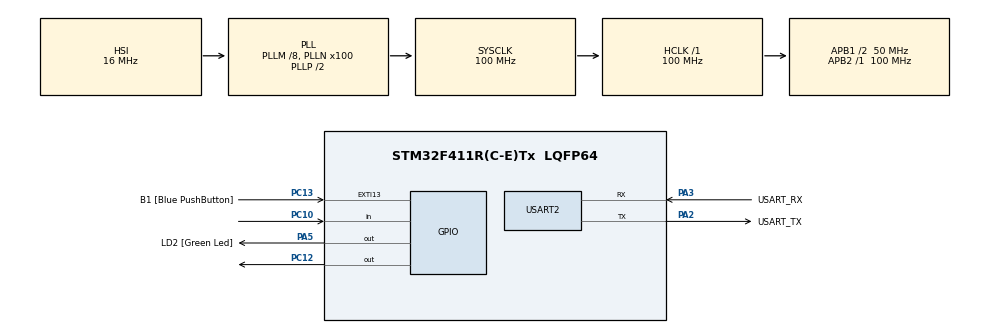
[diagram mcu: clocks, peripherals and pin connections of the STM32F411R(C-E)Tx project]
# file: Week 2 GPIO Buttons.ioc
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Mcu.Family=STM32F4
Mcu.Name=STM32F411R(C-E)Tx
Mcu.Package=LQFP64
NVIC.PriorityGroup=NVIC_PRIORITYGROUP_0
PA13.GPIO_Label=TMS
PA13.Mode=Serial_Wire
PA13.Signal=SYS_JTMS-SWDIO
PA14.GPIO_Label=TCK
PA14.Mode=Serial_Wire
PA14.Signal=SYS_JTCK-SWCLK
PA2.GPIO_Label=USART_TX
PA2.Mode=Asynchronous
PA2.Signal=USART2_TX
PA3.GPIO_Label=USART_RX
PA3.Mode=Asynchronous
PA3.Signal=USART2_RX
PA5.GPIO_Label=LD2 [Green Led]
PA5.Signal=GPIO_Output
PB3.GPIO_Label=SWO
PB3.Signal=SYS_JTDO-SWO
PC10.Signal=GPIO_Input
PC12.Signal=GPIO_Output
PC13-ANTI_TAMP.GPIO_Label=B1 [Blue PushButton]
PC13-ANTI_TAMP.GPIO_ModeDefaultEXTI=GPIO_MODE_IT_FALLING
PC13-ANTI_TAMP.Signal=GPXTI13
PC14-OSC32_IN.Mode=LSE-External-Oscillator
PC14-OSC32_IN.Signal=RCC_OSC32_IN
PC15-OSC32_OUT.Mode=LSE-External-Oscillator
PC15-OSC32_OUT.Signal=RCC_OSC32_OUT
PH0\ -\ OSC_IN.Mode=HSE-External-Clock-Source
PH0\ -\ OSC_IN.Signal=RCC_OSC_IN
PH1\ -\ OSC_OUT.Mode=HSE-External-Clock-Source
PH1\ -\ OSC_OUT.Signal=RCC_OSC_OUT
ProjectManager.HeapSize=0x200
ProjectManager.StackSize=0x400
ProjectManager.TargetToolchain=STM32CubeIDE
RCC.48MHZClocksFreq_Value=50000000
RCC.AHBFreq_Value=100000000
RCC.APB1CLKDivider=RCC_HCLK_DIV2
RCC.APB1Freq_Value=50000000
RCC.APB1TimFreq_Value=100000000
RCC.APB2Freq_Value=100000000
RCC.APB2TimFreq_Value=100000000
RCC.CortexFreq_Value=100000000
RCC.FLatency-AdvancedSettings=FLASH_LATENCY_3
RCC.HCLKFreq_Value=100000000
RCC.HSE_VALUE=8000000
RCC.HSI_VALUE=16000000
RCC.PLLM=8
RCC.PLLN=100
RCC.SYSCLKFreq_VALUE=100000000
RCC.SYSCLKSource=RCC_SYSCLKSOURCE_PLLCLK
RCC.VCOOutputFreq_Value=200000000
USART2.VirtualMode=VM_ASYNC
board=NUCLEO-F411RE

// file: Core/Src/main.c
/* USER CODE BEGIN Header */
/**
  ******************************************************************************
  * @file           : main.c
  * @brief          : Main program body
  ******************************************************************************
  * @attention
  *
  * Copyright (c) 2023 STMicroelectronics.
  * All rights reserved.
  *
  * This software is licensed under terms that can be found in the LICENSE file
  * in the root directory of this software component.
  * If no LICENSE file comes with this software, it is provided AS-IS.
  *
  ******************************************************************************
  */
/* USER CODE END Header */
#include "main.h"

UART_HandleTypeDef huart2;

/* USER CODE BEGIN PV */
struct _GPIOState{
	GPIO_PinState Current;
	GPIO_PinState Last;
};

struct _GPIOState Button1;

/* USER CODE END PV */

void SystemClock_Config(void);
static void MX_GPIO_Init(void);
static void MX_USART2_UART_Init(void);

int main(void)
{

  /* MCU Configuration--------------------------------------------------------*/

  /* Reset of all peripherals, Initializes the Flash interface and the Systick. */
  HAL_Init();

  /* Configure the system clock */
  SystemClock_Config();

  /* Initialize all configured peripherals */
  MX_GPIO_Init();
  MX_USART2_UART_Init();

  /* Infinite loop */
  /* USER CODE BEGIN WHILE */
  while (1)
  {
	  static uint8_t state = 0;

	  Button1.Current = HAL_GPIO_ReadPin(GPIOC, GPIO_PIN_10);
	  if(Button1.Current == 0 && Button1.Last == 1){
		  state = !state;
	  }
	  Button1.Last = Button1.Current;

	  static uint32_t timestamp = 0;
	  if(HAL_GetTick() >= timestamp){
		  timestamp = HAL_GetTick() + 250 + 250 * state;
		  HAL_GPIO_TogglePin(GPIOC, GPIO_PIN_12);
	  }
    /* USER CODE END WHILE */

    /* USER CODE BEGIN 3 */
	  uint8_t Test[] = "Hello World !!!\r\n"; //Data to send
	  HAL_UART_Transmit(&huart2,Test,sizeof(Test),10);// Sending in normal mode
  }
  /* USER CODE END 3 */
}

void SystemClock_Config(void)
{
  RCC_OscInitTypeDef RCC_OscInitStruct = {0};
  RCC_ClkInitTypeDef RCC_ClkInitStruct = {0};

  /** Configure the main internal regulator output voltage
  */
  __HAL_RCC_PWR_CLK_ENABLE();
  __HAL_PWR_VOLTAGESCALING_CONFIG(PWR_REGULATOR_VOLTAGE_SCALE1);

  /** Initializes the RCC Oscillators according to the specified parameters
  * in the RCC_OscInitTypeDef structure.
  */
  RCC_OscInitStruct.OscillatorType = RCC_OSCILLATORTYPE_HSI;
  RCC_OscInitStruct.HSIState = RCC_HSI_ON;
  RCC_OscInitStruct.HSICalibrationValue = RCC_HSICALIBRATION_DEFAULT;
  RCC_OscInitStruct.PLL.PLLState = RCC_PLL_ON;
  RCC_OscInitStruct.PLL.PLLSource = RCC_PLLSOURCE_HSI;
  RCC_OscInitStruct.PLL.PLLM = 8;
  RCC_OscInitStruct.PLL.PLLN = 100;
  RCC_OscInitStruct.PLL.PLLP = RCC_PLLP_DIV2;
  RCC_OscInitStruct.PLL.PLLQ = 4;
  if (HAL_RCC_OscConfig(&RCC_OscInitStruct) != HAL_OK)
  {
    Error_Handler();
  }

  /** Initializes the CPU, AHB and APB buses clocks
  */
  RCC_ClkInitStruct.ClockType = RCC_CLOCKTYPE_HCLK|RCC_CLOCKTYPE_SYSCLK
                              |RCC_CLOCKTYPE_PCLK1|RCC_CLOCKTYPE_PCLK2;
  RCC_ClkInitStruct.SYSCLKSource = RCC_SYSCLKSOURCE_PLLCLK;
  RCC_ClkInitStruct.AHBCLKDivider = RCC_SYSCLK_DIV1;
  RCC_ClkInitStruct.APB1CLKDivider = RCC_HCLK_DIV2;
  RCC_ClkInitStruct.APB2CLKDivider = RCC_HCLK_DIV1;

  if (HAL_RCC_ClockConfig(&RCC_ClkInitStruct, FLASH_LATENCY_3) != HAL_OK)
  {
    Error_Handler();
  }
}

static void MX_USART2_UART_Init(void)
{

  huart2.Instance = USART2;
  huart2.Init.BaudRate = 115200;
  huart2.Init.WordLength = UART_WORDLENGTH_8B;
  huart2.Init.StopBits = UART_STOPBITS_1;
  huart2.Init.Parity = UART_PARITY_NONE;
  huart2.Init.Mode = UART_MODE_TX_RX;
  huart2.Init.HwFlowCtl = UART_HWCONTROL_NONE;
  huart2.Init.OverSampling = UART_OVERSAMPLING_16;
  if (HAL_UART_Init(&huart2) != HAL_OK)
  {
    Error_Handler();
  }

}

static void MX_GPIO_Init(void)
{
  GPIO_InitTypeDef GPIO_InitStruct = {0};

  /* GPIO Ports Clock Enable */
  __HAL_RCC_GPIOC_CLK_ENABLE();
  __HAL_RCC_GPIOH_CLK_ENABLE();
  __HAL_RCC_GPIOA_CLK_ENABLE();
  __HAL_RCC_GPIOB_CLK_ENABLE();

  /*Configure GPIO pin Output Level */
  HAL_GPIO_WritePin(LD2_GPIO_Port, LD2_Pin, GPIO_PIN_RESET);

  /*Configure GPIO pin Output Level */
  HAL_GPIO_WritePin(GPIOC, GPIO_PIN_12, GPIO_PIN_RESET);

  /*Configure GPIO pin : B1_Pin */
  GPIO_InitStruct.Pin = B1_Pin;
  GPIO_InitStruct.Mode = GPIO_MODE_IT_FALLING;
  GPIO_InitStruct.Pull = GPIO_NOPULL;
  HAL_GPIO_Init(B1_GPIO_Port, &GPIO_InitStruct);

  /*Configure GPIO pin : LD2_Pin */
  GPIO_InitStruct.Pin = LD2_Pin;
  GPIO_InitStruct.Mode = GPIO_MODE_OUTPUT_PP;
  GPIO_InitStruct.Pull = GPIO_NOPULL;
  GPIO_InitStruct.Speed = GPIO_SPEED_FREQ_LOW;
  HAL_GPIO_Init(LD2_GPIO_Port, &GPIO_InitStruct);

  /*Configure GPIO pin : PC10 */
  GPIO_InitStruct.Pin = GPIO_PIN_10;
  GPIO_InitStruct.Mode = GPIO_MODE_INPUT;
  GPIO_InitStruct.Pull = GPIO_NOPULL;
  HAL_GPIO_Init(GPIOC, &GPIO_InitStruct);

  /*Configure GPIO pin : PC12 */
  GPIO_InitStruct.Pin = GPIO_PIN_12;
  GPIO_InitStruct.Mode = GPIO_MODE_OUTPUT_PP;
  GPIO_InitStruct.Pull = GPIO_NOPULL;
  GPIO_InitStruct.Speed = GPIO_SPEED_FREQ_LOW;
  HAL_GPIO_Init(GPIOC, &GPIO_InitStruct);

}

void Error_Handler(void)
{
  __disable_irq();
  while (1)
  {
  }
}
